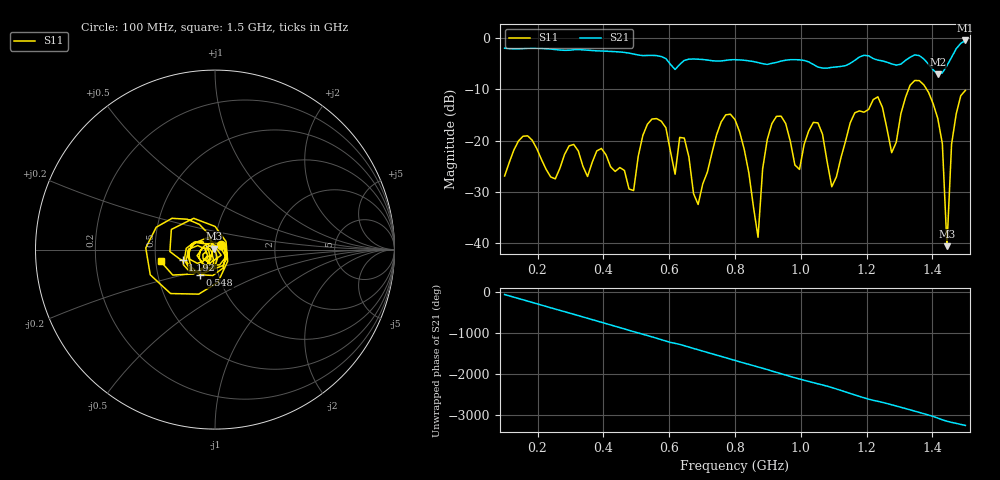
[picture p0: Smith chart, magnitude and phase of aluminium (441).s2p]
! NanoVNA-App
! Date: 2025-09-25 14:58:43
! Start: 100MHz Stop: 1,5GHz Points: 101
! S-Parameter data: F S11 S21 S12 S22
# Hz S RI R 50
!  Frequency  S11_Real  S11_Imag  S21_Real  S21_Imag  S12_Real  S12_Imag  S22_Real  S22_Imag
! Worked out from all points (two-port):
!   101 points, 100 MHz to 1.5 GHz, reference 50 ohm
!   highest |S21| = -0.39 dB at 1.5 GHz (marker M1); lowest = -7.0 dB at 1.416 GHz (marker M2)
!   |S21| within 3 dB of the highest: start of sweep to 564.6 MHz; 1.461 GHz to end of sweep (the widest 2 of 4)
!   lowest |S11| = -40.7 dB at 1.444 GHz (marker M3), VSWR 1.02, Z = 49.3 + j0.597 ohm
!   |S11| at or under -10 dB: start of sweep to 1.327 GHz; 1.383 GHz to end of sweep
!   S12 and S22 are empty: the file has one direction only
!   S11 on the Smith chart (normalised r, x): 100 MHz: 1.07, +0.06; 548 MHz: 0.82, -0.24; 1.192 GHz: 0.69, -0.09; 1.5 GHz: 0.53, -0.08
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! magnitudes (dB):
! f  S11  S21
! 100 MHz  -27.0  -1.9
! 156 MHz  -19.2  -2.0
! 338 MHz  -25.1  -2.2
! 492 MHz  -29.8  -3.1
! 548 MHz  -15.8  -3.3
! 576 MHz  -16.2  -3.5
! 688 MHz  -32.5  -4.1
! 800 MHz  -15.9  -4.2
! 870 MHz  -39.0  -4.7
! 912 MHz  -16.7  -4.9
! 996 MHz  -25.7  -4.2
! 1.038 GHz  -16.4  -5.1
! 1.094 GHz  -29.1  -5.7
! 1.192 GHz  -14.4  -3.3
! 1.234 GHz  -11.4  -4.2
! 1.276 GHz  -22.4  -5.0
! 1.346 GHz  -8.2  -3.2
! 1.416 GHz  -15.6  -7.0
! 1.43 GHz  -20.6  -6.7
! 1.444 GHz  -40.7  -5.3
! 1.458 GHz  -20.7  -3.7
! 1.5 GHz  -10.2  -0.4
